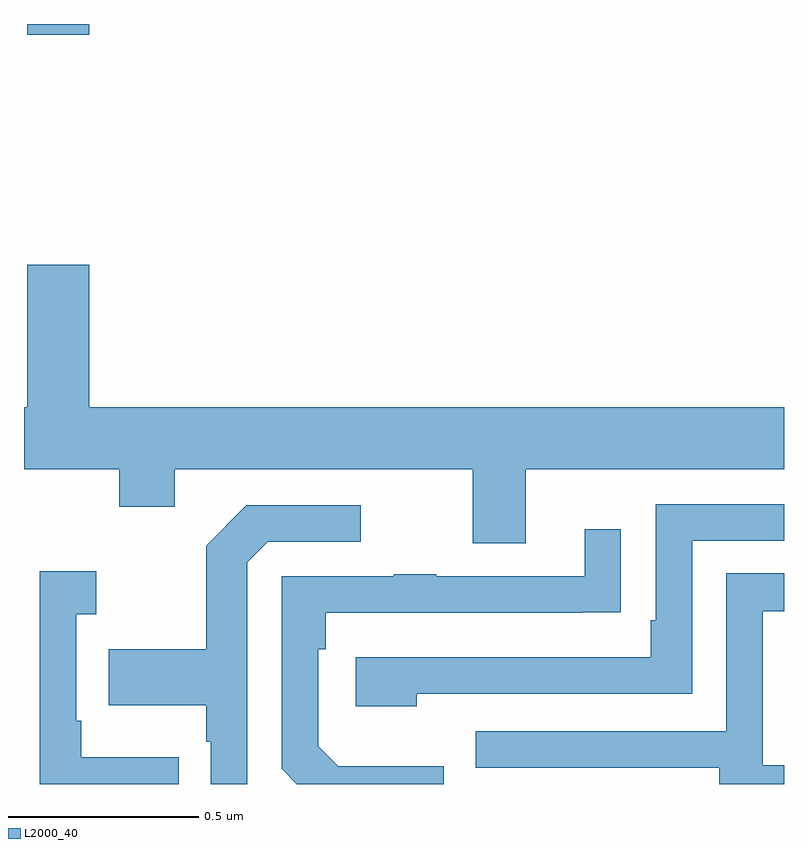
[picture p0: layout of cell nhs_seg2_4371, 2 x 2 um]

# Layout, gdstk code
import gdstk
lib = gdstk.Library(unit=1e-6, precision=1e-09)
def R(c, l, rs):  # rectangles x0, y0, x1, y1
    for r in rs: c.add(gdstk.rectangle(r[:2], r[2:], *l))
def P(c, l, *ps):  # polygons
    for p in ps: c.add(gdstk.Polygon(p, *l))
L2000_40 = (2000, 40)

nhs_seg2_4371 = lib.new_cell('nhs_seg2_4371')
R(nhs_seg2_4371, L2000_40, [(165.008,656.772,165.172,656.8)])
P(nhs_seg2_4371, L2000_40, [(166.321,655.628),(167,655.628),(167,655.792),(165.172,655.792),(165.172,656.167),(165.008,656.167),(165.008,655.792),(165,655.792),(165,655.628),(165.25,655.628),(165.25,655.529),(165.397,655.529),(165.397,655.628),(166.181,655.628),(166.181,655.434),(166.321,655.434)],
  [(166.034,655.038),(166.758,655.038),(166.758,655.44),(167,655.44),(167,655.536),(166.662,655.536),(166.662,655.231),(166.649,655.231),(166.649,655.134),(165.873,655.134),(165.873,655.004),(166.034,655.004)],
  [(165.588,655.383),(165.642,655.437),(165.886,655.437),(165.886,655.533),(165.585,655.533),(165.48,655.427),(165.48,655.155),(165.223,655.155),(165.223,655.007),(165.48,655.007),(165.48,654.911),(165.492,654.911),(165.492,654.8),(165.588,654.8)],
  [(166.104,654.847),(165.827,654.847),(165.774,654.9),(165.774,655.154),(165.794,655.154),(165.794,655.251),(166.469,655.251),(166.469,655.252),(166.571,655.252),(166.571,655.471),(166.475,655.471),(166.475,655.347),(166.085,655.347),(166.085,655.352),(165.973,655.352),(165.973,655.347),(165.678,655.347),(165.678,654.84),(165.718,654.8),(166.104,654.8)],
  [(165.407,654.871),(165.151,654.871),(165.151,654.967),(165.138,654.967),(165.138,655.247),(165.19,655.247),(165.19,655.36),(165.041,655.36),(165.041,654.8),(165.407,654.8)],
  [(167,654.849),(166.944,654.849),(166.944,655.254),(167,655.254),(167,655.355),(166.848,655.355),(166.848,654.939),(166.189,654.939),(166.189,654.843),(166.829,654.843),(166.829,654.8),(167,654.8)])

lib.write_gds('nhs_seg2_4371.gds')
